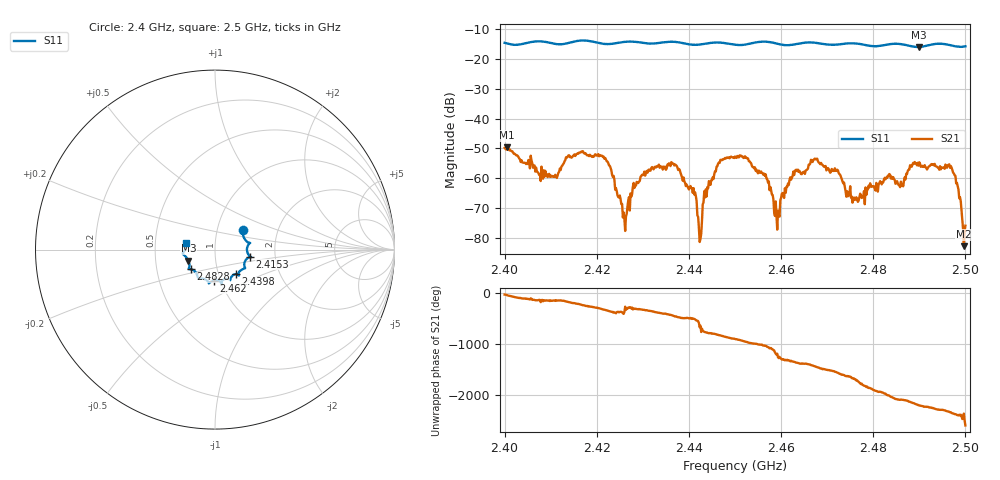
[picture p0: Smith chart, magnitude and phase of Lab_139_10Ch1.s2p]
# Hz S RI R 50
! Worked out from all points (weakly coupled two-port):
!   601 points, 2.4 GHz to 2.5 GHz, reference 50 ohm
!   highest |S21| = -49.64 dB at 2.4005 GHz (marker M1); lowest = -82.8 dB at 2.4997 GHz (marker M2)
!   lowest |S11| = -15.9 dB at 2.4898 GHz (marker M3), VSWR 1.38, Z = 36.8 - j4.62 ohm
!   |S11| at or under -10 dB: start of sweep to end of sweep
!   S12 and S22 are empty: the file has one direction only
!   S11 on the Smith chart (normalised r, x): 2.4 GHz: 1.33, +0.29; 2.4153 GHz: 1.48, -0.12; 2.4398 GHz: 1.21, -0.34; 2.462 GHz: 0.93, -0.33; 2.4828 GHz: 0.74, -0.17; 2.5 GHz: 0.72, +0.06
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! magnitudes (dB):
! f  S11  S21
! 2.4 GHz  -14.5  -49.8
! 2.4005 GHz  -14.7  -49.6
! 2.4103 GHz  -14.7  -59.2
! 2.4153 GHz  -14.0  -52.5
! 2.4167 GHz  -13.7  -51.0
! 2.4223 GHz  -14.9  -54.4
! 2.4262 GHz  -14.2  -77.7
! 2.4333 GHz  -14.6  -55.7
! 2.4398 GHz  -15.0  -63.2
! 2.4423 GHz  -15.1  -81.4
! 2.4465 GHz  -14.4  -54.7
! 2.45 GHz  -15.1  -52.7
! 2.4592 GHz  -14.8  -77.3
! 2.462 GHz  -15.2  -59.7
! 2.4667 GHz  -14.4  -54.1
! 2.4757 GHz  -14.7  -67.3
! 2.4828 GHz  -15.2  -59.8
! 2.4833 GHz  -15.0  -59.3
! 2.4898 GHz  -15.9  -55.8
! 2.4967 GHz  -15.3  -56.5
! 2.4997 GHz  -15.8  -82.8
! 2.5 GHz  -15.7  -75.9
